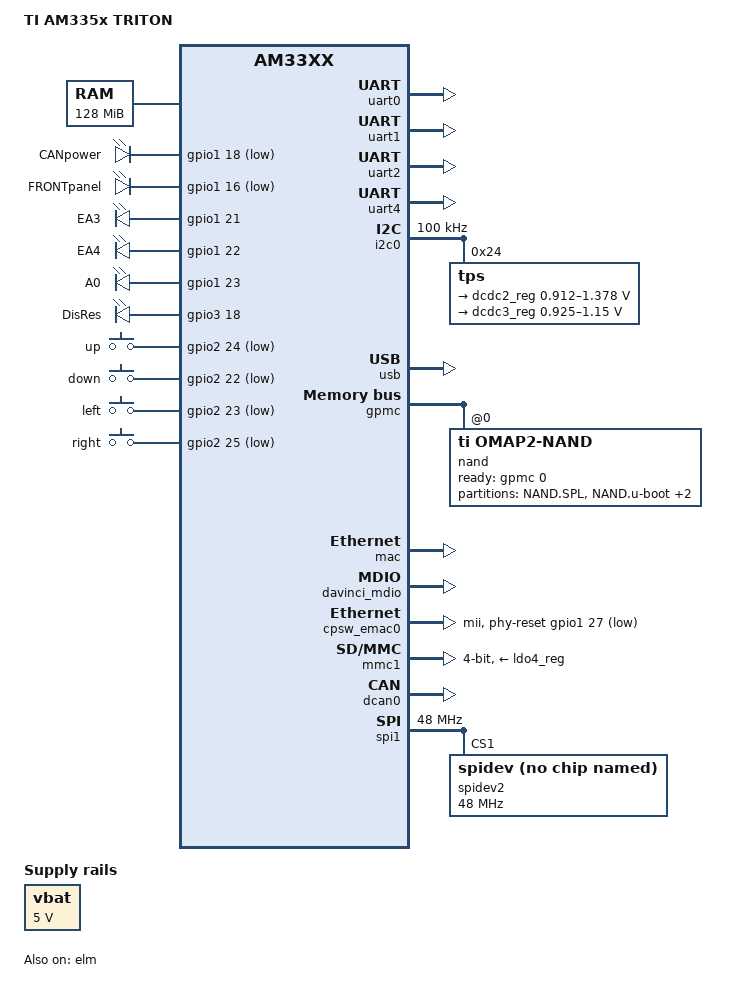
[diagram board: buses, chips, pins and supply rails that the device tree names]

/*
 * Copyright (C) 2012 Texas Instruments Incorporated - http://www.ti.com/
 *
 * This program is free software; you can redistribute it and/or modify
 * it under the terms of the GNU General Public License version 2 as
 * published by the Free Software Foundation.
 */
/dts-v1/;

#include "am33xx.dtsi"
#include <dt-bindings/interrupt-controller/irq.h>
#include "mux_giga.h"

/ {
	model = "TI AM335x TRITON";
	compatible = "ti,am33xx";

	cpus {
		cpu@0 {
			cpu0-supply = <&dcdc2_reg>;
		};
	};

	memory {
		device_type = "memory";
		reg = <0x80000000 0x08000000>; /* 128 MB */
	};

	vbat: fixedregulator@0 {
		compatible = "regulator-fixed";
		regulator-name = "vbat";
		regulator-min-microvolt = <5000000>;
		regulator-max-microvolt = <5000000>;
		regulator-boot-on;
	};
};

&am33xx_pinmux {
	pinctrl-names = "default";

	i2c0_pins: pinmux_i2c0_pins {
		pinctrl-single,pins = <
			0x188 (PIN_INPUT_PULLUP | MUX_MODE0)	/* i2c0_sda.i2c0_sda */
			0x18c (PIN_INPUT_PULLUP | MUX_MODE0)	/* i2c0_scl.i2c0_scl */
		>;
	};

	/* Console */
	uart0_pins: pinmux_uart0_pins {
		pinctrl-single,pins = <
			0x170 (PIN_INPUT_PULLUP | MUX_MODE0)	/* uart0_rxd.uart0_rxd */
			0x174 (PIN_OUTPUT_PULLDOWN | MUX_MODE0)	/* uart0_txd.uart0_txd */
		>;
	};
	
	/* RS485 / RS232 I/O expansion */
	uart1_pins: pinmux_uart1_pins {
		pinctrl-single,pins = <
			MUX_VAL(CONTROL_PADCONF_UART1_RXD, (IEN | OFF | MODE0)) /* uart1_rxd */
			MUX_VAL(CONTROL_PADCONF_UART1_TXD, (IDIS | OFF | MODE0)) /* uart1_txd */
		>;
	};

	/* Rectifier communication, RS485 */
	uart2_pins: pinmux_uart2_pins {
		    pinctrl-single,pins = <
		    	MUX_VAL(CONTROL_PADCONF_SPI0_SCLK, (IEN | OFF | MODE1 )) /* uart2_rxd_mux3 */
			MUX_VAL(CONTROL_PADCONF_SPI0_D0, (IDIS | OFF | MODE1 )) /* uart2_txd_mux3 */
		>;
	};

	uart2_rs485rts_pin: pinmux_u2_rs485rts_pin {
		pinctrl-single,pins = <
			MUX_VAL(CONTROL_PADCONF_SPI0_D1, (IDIS | PU | MODE7 )) /* gpio0[4] */
		>;
	};

	free_pins: pinmux_gpio_pin {
		    pinctrl-single,pins = <
			0x44 (PIN_OUTPUT_PULLUP | MUX_MODE7) /* gpmc_a1 , gpio1[17] */
			0x4c (PIN_OUTPUT_PULLUP | MUX_MODE7) /* gpmc_a3 , gpio1[19] */
		    >;
	};

	/* To sense boards */
	uart4_pins: pinmux_uart4_pins {
		pinctrl-single,pins = <
			MUX_VAL(CONTROL_PADCONF_UART0_CTSN, (IEN | OFF | MODE1 )) /* uart4_rxd_mux1 */
			MUX_VAL(CONTROL_PADCONF_UART0_RTSN, (IDIS | OFF | MODE1 )) /* uart4_txd_mux1 */
		>;
	};

	dcan0_default: dcan0_default_pins {
		pinctrl-single,pins = <
			MUX_VAL(CONTROL_PADCONF_UART1_CTSN, (PU | MODE2 )) /* dcan0_tx_mux2 */
			MUX_VAL(CONTROL_PADCONF_UART1_RTSN, (IEN | PU | MODE2 )) /* dcan0_rx_mux2 */
		>;
	};

	spi1_default: spi1_default_pins {
		pinctrl-single,pins = <
			0x190 (PIN_INPUT_PULLUP | MUX_MODE3) /* spi1_sclk_mux2 */
			0x194 (PIN_INPUT_PULLUP | MUX_MODE3)  /* spi1_d0_mux2   */
			0x198 (PIN_OUTPUT_PULLUP | MUX_MODE3) /* spi1_d1_mux2   */
			MUX_VAL(CONTROL_PADCONF_RMII1_REF_CLK,  (IEN | PD | MODE2 ))     /* spi1_cs0_mux1, Connect to DAB */
			MUX_VAL(CONTROL_PADCONF_ECAP0_IN_PWM0_OUT, (IEN | OFF | MODE2 )) /* spi1_cs1_mux1, Connect to OLED */
		>;
	};

	clkout2_pin: pinmux_clkout2_pin {
		pinctrl-single,pins = <
			0x1b4 (PIN_OUTPUT_PULLDOWN | MUX_MODE3)	/* xdma_event_intr1.clkout2 */
		>;
	};

	nandflash_pins_default: nandflash_pins_default {
		pinctrl-single,pins = <
			0x0 (PIN_INPUT_PULLUP | MUX_MODE0)	/* gpmc_ad0.gpmc_ad0 */
			0x4 (PIN_INPUT_PULLUP | MUX_MODE0)	/* gpmc_ad1.gpmc_ad1 */
			0x8 (PIN_INPUT_PULLUP | MUX_MODE0)	/* gpmc_ad2.gpmc_ad2 */
			0xc (PIN_INPUT_PULLUP | MUX_MODE0)	/* gpmc_ad3.gpmc_ad3 */
			0x10 (PIN_INPUT_PULLUP | MUX_MODE0)	/* gpmc_ad4.gpmc_ad4 */
			0x14 (PIN_INPUT_PULLUP | MUX_MODE0)	/* gpmc_ad5.gpmc_ad5 */
			0x18 (PIN_INPUT_PULLUP | MUX_MODE0)	/* gpmc_ad6.gpmc_ad6 */
			0x1c (PIN_INPUT_PULLUP | MUX_MODE0)	/* gpmc_ad7.gpmc_ad7 */
			0x70 (PIN_INPUT_PULLUP | MUX_MODE0)	/* gpmc_wait0.gpmc_wait0 */
			0x74 (PIN_INPUT_PULLUP | MUX_MODE7)	/* gpmc_wpn.gpio0_30 */
			0x7c (PIN_OUTPUT | MUX_MODE0)		/* gpmc_csn0.gpmc_csn0  */
			0x90 (PIN_OUTPUT | MUX_MODE0)		/* gpmc_advn_ale.gpmc_advn_ale */
			0x94 (PIN_OUTPUT | MUX_MODE0)		/* gpmc_oen_ren.gpmc_oen_ren */
			0x98 (PIN_OUTPUT | MUX_MODE0)		/* gpmc_wen.gpmc_wen */
			0x9c (PIN_OUTPUT | MUX_MODE0)		/* gpmc_be0n_cle.gpmc_be0n_cle */
		>;
	};

	nandflash_pins_sleep: nandflash_pins_sleep {
		pinctrl-single,pins = <
			0x0 (PIN_INPUT_PULLDOWN | MUX_MODE7)
			0x4 (PIN_INPUT_PULLDOWN | MUX_MODE7)
			0x8 (PIN_INPUT_PULLDOWN | MUX_MODE7)
			0xc (PIN_INPUT_PULLDOWN | MUX_MODE7)
			0x10 (PIN_INPUT_PULLDOWN | MUX_MODE7)
			0x14 (PIN_INPUT_PULLDOWN | MUX_MODE7)
			0x18 (PIN_INPUT_PULLDOWN | MUX_MODE7)
			0x1c (PIN_INPUT_PULLDOWN | MUX_MODE7)
			0x70 (PIN_INPUT_PULLDOWN | MUX_MODE7)
			0x74 (PIN_INPUT_PULLDOWN | MUX_MODE7)
			0x7c (PIN_INPUT_PULLDOWN | MUX_MODE7)
			0x90 (PIN_INPUT_PULLDOWN | MUX_MODE7)
			0x94 (PIN_INPUT_PULLDOWN | MUX_MODE7)
			0x98 (PIN_INPUT_PULLDOWN | MUX_MODE7)
			0x9c (PIN_INPUT_PULLDOWN | MUX_MODE7)
		>;
	};

	cpsw_default: cpsw_default {
		pinctrl-single,pins = <
			MUX_VAL(CONTROL_PADCONF_MII1_COL,    (IEN | MODE0))  /* gmii1_col */
			MUX_VAL(CONTROL_PADCONF_MII1_CRS,    (IEN | MODE0))  /* gmii1_crs */
			MUX_VAL(CONTROL_PADCONF_MII1_RX_ER,  (IEN | PU | MODE0))  /* gmii1_rxer */
			MUX_VAL(CONTROL_PADCONF_MII1_TX_EN,  (PD | MODE0))        /* gmii1_txen */
			MUX_VAL(CONTROL_PADCONF_MII1_RX_DV,  (IEN | PU | MODE0 )) /* gmii1_rxdv */
			MUX_VAL(CONTROL_PADCONF_MII1_TXD3,   (PD | MODE0))        /* gmii1_txd3 */
			MUX_VAL(CONTROL_PADCONF_MII1_TXD2,   (PD | MODE0))        /* gmii1_txd2 */
			MUX_VAL(CONTROL_PADCONF_MII1_TXD1,   (PD | MODE0))        /* gmii1_txd1 */
			MUX_VAL(CONTROL_PADCONF_MII1_TXD0,   (PD | MODE0))        /* gmii1_txd0 */
			MUX_VAL(CONTROL_PADCONF_MII1_TX_CLK, (IEN | PU | MODE0 )) /* gmii1_txclk */
			MUX_VAL(CONTROL_PADCONF_MII1_RX_CLK, (IEN | PU | MODE0 )) /* gmii1_rxclk */
			MUX_VAL(CONTROL_PADCONF_MII1_RXD3,   (IEN | PU | MODE0 )) /* gmii1_rxd3 */
			MUX_VAL(CONTROL_PADCONF_MII1_RXD2,   (IEN | PU | MODE0 )) /* gmii1_rxd2 */
			MUX_VAL(CONTROL_PADCONF_MII1_RXD1,   (IEN | PU | MODE0 )) /* gmii1_rxd1 */
			MUX_VAL(CONTROL_PADCONF_MII1_RXD0,   (IEN | PU | MODE0 )) /* gmii1_rxd0 */
		>;
	};

	cpsw_sleep: cpsw_sleep {
		pinctrl-single,pins = <
			MUX_VAL(CONTROL_PADCONF_MII1_COL, (IEN | PD | MODE7 )) /* gmii1_col */
			MUX_VAL(CONTROL_PADCONF_MII1_CRS, (IEN | PD | MODE7 )) /* gmii1_crs */
			MUX_VAL(CONTROL_PADCONF_MII1_RX_ER, (IEN | PD | MODE7 )) /* gmii1_rxer */
			MUX_VAL(CONTROL_PADCONF_MII1_TX_EN, (IEN | PD | MODE7 )) /* gmii1_txen */
			MUX_VAL(CONTROL_PADCONF_MII1_RX_DV, (IEN | PD | MODE7 )) /* gmii1_rxdv */
			MUX_VAL(CONTROL_PADCONF_MII1_TXD3, (IEN | PD | MODE7 )) /* gmii1_txd3 */
			MUX_VAL(CONTROL_PADCONF_MII1_TXD2, (IEN | PD | MODE7 )) /* gmii1_txd2 */
			MUX_VAL(CONTROL_PADCONF_MII1_TXD1, (IEN | PD | MODE7 )) /* gmii1_txd1 */
			MUX_VAL(CONTROL_PADCONF_MII1_TXD0, (IEN | PD | MODE7 )) /* gmii1_txd0 */
			MUX_VAL(CONTROL_PADCONF_MII1_TX_CLK, (IEN | PD | MODE7 )) /* gmii1_txclk */
			MUX_VAL(CONTROL_PADCONF_MII1_RX_CLK, (IEN | PD | MODE7 )) /* gmii1_rxclk */
			MUX_VAL(CONTROL_PADCONF_MII1_RXD3, (IEN | PD | MODE7 )) /* gmii1_rxd3 */
			MUX_VAL(CONTROL_PADCONF_MII1_RXD2, (IEN | PD | MODE7 )) /* gmii1_rxd2 */
			MUX_VAL(CONTROL_PADCONF_MII1_RXD1, (IEN | PD | MODE7 )) /* gmii1_rxd1 */
			MUX_VAL(CONTROL_PADCONF_MII1_RXD0, (IEN | PD | MODE7 )) /* gmii1_rxd0 */
		>;
	};

	cpsw_reset: cpsw_reset {
		    pinctrl-single,pins = <
		            MUX_VAL(CONTROL_PADCONF_GPMC_A11, (IDIS | PU | MODE7)) /* gpio1[27] */
		    >;
	};

	davinci_mdio_default: davinci_mdio_default {
		pinctrl-single,pins = <
			/* MDIO */
			0x148 (PIN_INPUT_PULLUP | SLEWCTRL_FAST | MUX_MODE0)	/* mdio_data.mdio_data */
			0x14c (PIN_OUTPUT_PULLUP | MUX_MODE0)			/* mdio_clk.mdio_clk */
		>;
	};

	davinci_mdio_sleep: davinci_mdio_sleep {
		pinctrl-single,pins = <
			/* MDIO reset value */
			0x148 (PIN_INPUT_PULLDOWN | MUX_MODE7)
			0x14c (PIN_INPUT_PULLDOWN | MUX_MODE7)
		>;
	};

	mmc1_pins_default: pinmux_mmc1_pins {
		pinctrl-single,pins = <
			0x0F0 (PIN_INPUT_PULLUP | MUX_MODE0)    /* mmc0_dat3.mmc0_dat3 */
			0x0F4 (PIN_INPUT_PULLUP | MUX_MODE0)    /* mmc0_dat2.mmc0_dat2 */
			0x0F8 (PIN_INPUT_PULLUP | MUX_MODE0)    /* mmc0_dat1.mmc0_dat1 */
			0x0FC (PIN_INPUT_PULLUP | MUX_MODE0)    /* mmc0_dat0.mmc0_dat0 */
			0x100 (PIN_INPUT_PULLUP | MUX_MODE0)    /* mmc0_clk.mmc0_clk */
			0x104 (PIN_INPUT_PULLUP | MUX_MODE0)    /* mmc0_cmd.mmc0_cmd */
			/* 0x1A0 (PIN_INPUT_PULLUP | MUX_MODE7)    mcasp0_aclkr.gpio3_18 */
			/* 0x160 (PIN_INPUT | MUX_MODE7)          spi0_cs1.gpio0_6 */
		>;
	};

	mmc1_pins_sleep: pinmux_mmc1_pins_sleep {
		pinctrl-single,pins = <
			0x0F0 (PIN_INPUT_PULLDOWN | MUX_MODE7)
			0x0F4 (PIN_INPUT_PULLDOWN | MUX_MODE7)
			0x0F8 (PIN_INPUT_PULLDOWN | MUX_MODE7)
			0x0FC (PIN_INPUT_PULLDOWN | MUX_MODE7)
			0x100 (PIN_INPUT_PULLDOWN | MUX_MODE7)
			0x104 (PIN_INPUT_PULLDOWN | MUX_MODE7)
			/* 0x1A0 (PIN_INPUT_PULLDOWN | MUX_MODE7) */
		>;
	};
};


/ {
	leds {
		compatible = "gpio-leds";
		
		canpower {
			label = "CANpower";
	 		gpios = <&gpio1 18 GPIO_ACTIVE_LOW>;
			default-state = "off";
			linux,default-trigger = "none";
		};

		frontpanel {
			label = "FRONTpanel";
	 		gpios = <&gpio1 16 GPIO_ACTIVE_LOW>;
			default-state = "off";
			linux,default-trigger = "none";
		};

		ea3 {
			label = "EA3";
	 		gpios = <&gpio1 21 GPIO_ACTIVE_HIGH>;
			default-state = "off";
			linux,default-trigger = "none";
		};

		ea4 {
			label = "EA4";
	 		gpios = <&gpio1 22 GPIO_ACTIVE_HIGH>;
			default-state = "off";
			linux,default-trigger = "none";
		};

		A0 {
			label = "A0";
	 		gpios = <&gpio1 23 GPIO_ACTIVE_HIGH>;
			default-state = "off";
			linux,default-trigger = "none";
		};

		DisRes {
			label = "DisRes";
	 		gpios = <&gpio3 18 GPIO_ACTIVE_HIGH>;
			default-state = "off";
			linux,default-trigger = "none";
		};
	};

	lcd_keys: lcd_keys {
		compatible = "gpio-keys";
		#address-cells = <1>;
		#size-cells = <0>;
		/* autorepeat; */

		up-key {
			 label = "up";
			 linux,code = <88>;
			 gpios = <&gpio2 24 GPIO_ACTIVE_LOW>;
			 gpio-key,wakeup;
		};

		down-key {
			  label = "down";
			  linux,code = <86>;
			  gpios = <&gpio2 22 GPIO_ACTIVE_LOW>;
			  gpio-key,wakeup;
		};

		left-key {
			  label = "left";
			  linux,code = <87>;
			  gpios = <&gpio2 23 GPIO_ACTIVE_LOW>;
			  gpio-key,wakeup;
		};

		right-key {
			  label = "right";
			  linux,code = <89>;
			  gpios = <&gpio2 25 GPIO_ACTIVE_LOW>;
			  gpio-key,wakeup;
		};
	};
};


&uart0 {
	pinctrl-names = "default";
	pinctrl-0 = <&uart0_pins>;
	status = "okay";
};

&uart1 {
       pinctrl-names = "default";
       pinctrl-0 = <&uart1_pins>;
       status = "okay";
       linux,rs485-enabled-at-boot-time;
       rts-gpio = <&gpio1 17 GPIO_ACTIVE_HIGH>;
       rs485-rts-active-high;
       rs485-rts-delay = <1 1>;
};

&uart2 {
      pinctrl-names = "default";
      pinctrl-0 = <&uart2_pins>;
      status = "okay";
       linux,rs485-enabled-at-boot-time;
       rts-gpio = <&gpio0 4 GPIO_ACTIVE_HIGH>;
       rs485-rts-active-high;
       rs485-rts-delay = <1 1>;
};

&uart4 {
       	pinctrl-names = "default";
	pinctrl-0 = <&uart4_pins>;
	status = "okay";
};

&i2c0 {
	pinctrl-names = "default";
	pinctrl-0 = <&i2c0_pins>;

	status = "okay";
	clock-frequency = <100000>;

	tps: tps@24 {
		reg = <0x24>;
	};
};

&usb {
	status = "okay";

	control@44e10620 {
		status = "okay";
	};

	usb-phy@47401b00 {
		status = "okay";
	};

	usb@47401800 {
		status = "okay";
		dr_mode = "host";
	};

	dma-controller@47402000  {
		status = "okay";
	};
};

&elm {
	status = "okay";
};

&gpmc {
	status = "okay";
	pinctrl-names = "default", "sleep";
	pinctrl-0 = <&nandflash_pins_default>;
	pinctrl-1 = <&nandflash_pins_sleep>;
	ranges = <0 0 0x08000000 0x1000000>;	/* CS0: 16MB for NAND */
	nand@0,0 {
		compatible = "ti,omap2-nand";
		reg = <0 0 4>; /* CS0, offset 0, IO size 4 */
		interrupt-parent = <&intc>;
		interrupts = <100>;
		ready-gpio = <&gpmc 0 GPIO_ACTIVE_HIGH>; /* gpmc_wait0 */
		ti,nand-ecc-opt = "bch8";
		ti,elm-id = <&elm>;
		nand-bus-width = <8>;
		gpmc,device-width = <1>;
		gpmc,sync-clk-ps = <0>;
		gpmc,cs-on-ns = <0>;
		gpmc,cs-rd-off-ns = <44>;
		gpmc,cs-wr-off-ns = <44>;
		gpmc,adv-on-ns = <6>;
		gpmc,adv-rd-off-ns = <34>;
		gpmc,adv-wr-off-ns = <44>;
		gpmc,we-on-ns = <0>;
		gpmc,we-off-ns = <40>;
		gpmc,oe-on-ns = <0>;
		gpmc,oe-off-ns = <54>;
		gpmc,access-ns = <64>;
		gpmc,rd-cycle-ns = <82>;
		gpmc,wr-cycle-ns = <82>;
		gpmc,bus-turnaround-ns = <0>;
		gpmc,cycle2cycle-delay-ns = <0>;
		gpmc,clk-activation-ns = <0>;
		gpmc,wr-access-ns = <40>;
		gpmc,wr-data-mux-bus-ns = <0>;
		/* MTD partition table */
		/* All SPL-* partitions are sized to minimal length
		 * which can be independently programmable. For
		 * NAND flash this is equal to size of erase-block */
		#address-cells = <1>;
		#size-cells = <1>;
		partition@0 {
			label = "NAND.SPL";
			reg = <0x00000000 0x00080000>;
		};
		partition@1 {
			label = "NAND.u-boot";
			reg = <0x00080000 0x00200000>;
		};
		partition@2 {
			label = "NAND.u-boot-env";
			reg = <0x00280000 0x00080000>;
		};
		partition@3 {
			label = "NAND.file-system";
			reg = <0x00300000 0x07d00000>;
		};
	};
};


/include/ "tps65217.dtsi"

&tps {
	regulators {
		vrtc_reg: regulator@0 {
			regulator-always-on;
		};

		dcdc1_reg: regulator@0 {
			regulator-always-on;
		};

		dcdc2_reg: regulator@1 {
			/* VDD_MPU voltage limits 0.95V - 1.325V with +/-4% tolerance */
			regulator-name = "vdd_mpu";
			regulator-min-microvolt = <912500>;
			regulator-max-microvolt = <1378000>;
			regulator-boot-on;
			regulator-always-on;
		};

		dcdc3_reg: regulator@2 {
			/* VDD_CORE voltage limits 0.95V - 1.1V with +/-4% tolerance */
			regulator-name = "vdd_core";
			regulator-min-microvolt = <925000>;
			regulator-max-microvolt = <1150000>;
			regulator-boot-on;
			regulator-always-on;
		};

		ldo1_reg: regulator@3 {
			regulator-always-on;
		};

		ldo2_reg: regulator@4 {
			regulator-always-on;
		};

		ldo3_reg: regulator@5 {
			regulator-always-on;
		};

		ldo4_reg: regulator@6 {
			regulator-always-on;
		};

	};
};

&mac {
	slaves = <1>;
	pinctrl-names = "default", "sleep";
	pinctrl-0 = <&cpsw_default>;
	pinctrl-1 = <&cpsw_sleep>;
	status = "okay";
};

&davinci_mdio {
	pinctrl-names = "default", "sleep";
	pinctrl-0 = <&davinci_mdio_default>;
	pinctrl-1 = <&davinci_mdio_sleep>;
	status = "okay";
};

&cpsw_emac0 {
	phy_id = <&davinci_mdio>, <1>;
	phy-mode = "mii";
	phy-reset-gpios = <&gpio1 27 0>;
	phy-reset-duration = <100>;
	status = "okay";
};

&mmc1 {
	status = "okay";
	vmmc-supply = <&ldo4_reg>;
	bus-width = <4>;
	pinctrl-names = "default", "sleep";
	pinctrl-0 = <&mmc1_pins_default>;
	pinctrl-1 = <&mmc1_pins_sleep>;
};

&dcan0 {
       pinctrl-names = "default";
       pinctrl-0 = <&dcan0_default>;
       status = "okay";
};

&spi1 {
       status = "okay";
       pinctrl-names = "default";
       pinctrl-0 = <&spi1_default>;
       
       clocks = <&dpll_per_m2_div4_ck>;
       clock-names = "fck";
       clock-frequency = <48000000>;

/*
       spidev1:spidev@1 {
		compatible        = "spidev";
                reg               = <0>;
                spi-max-frequency = <48000000>;
       };

       spidev1:spidev@1 {
		compatible        = "visionox,ssd1308";
                reg               = <0>;
                spi-max-frequency = <48000000>;
       };
*/
       spidev2:spidev@2 {
		compatible        = "spidev";
                reg               = <1>;
                spi-max-frequency = <48000000>;
       };
};
